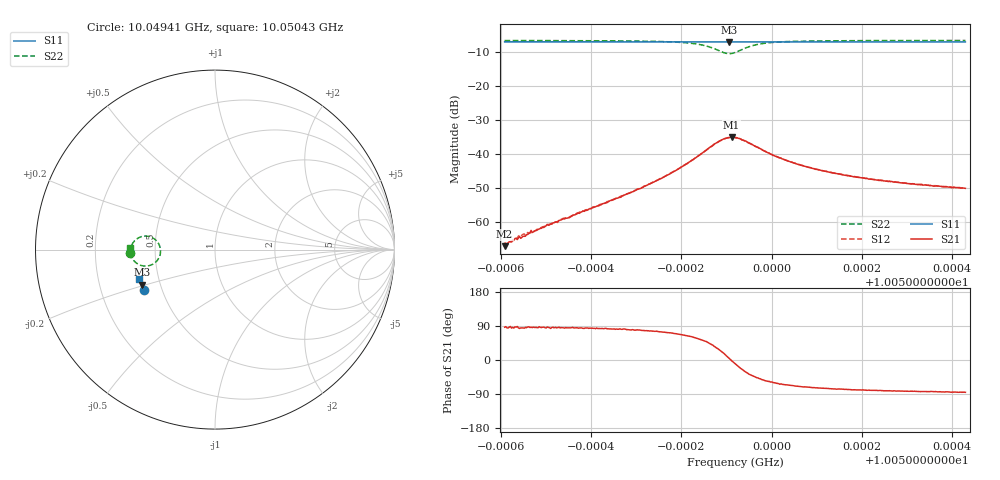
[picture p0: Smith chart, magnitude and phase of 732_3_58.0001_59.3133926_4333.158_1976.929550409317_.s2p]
#  HZ  S  RI  R  50.00
! Rohde & Schwarz Vector Network Analyzer
! Rohde-Schwarz,ZNB20-2Port,1311601062101988,3.16
! Created: UTC 3/21/2024, 1:23:08 AM
! freq[Hz]  re:S11  im:S11  re:S21  im:S21  re:S12  im:S12  re:S22  im:S22
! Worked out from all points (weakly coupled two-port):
!   401 points, 10.04941 GHz to 10.05043 GHz, reference 50 ohm
!   highest |S21| = -34.95 dB at 10.04991 GHz (marker M1); lowest = -67.1 dB at 10.04941 GHz (marker M2)
!   lowest |S11| = -6.9 dB at 10.04991 GHz (marker M3), VSWR 2.64, Z = 19.7 - j9.68 ohm
!   |S11| at or under -10 dB: nowhere
!   |S22| runs from -10.4 to -6.5 dB; largest |S21 - S12| = 0.0013
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1.0049407e10  -0.3943 -0.225  2.62e-05 0.000443  1.56e-05 0.000502  -0.4738 -0.0195
1.0049418e10  -0.3945 -0.2245  3.15e-05 0.000515  6.53e-06 0.000505  -0.4737 -0.0184
1.0049435e10  -0.395 -0.2234  1.57e-05 0.000554  2.55e-05 0.000576  -0.4736 -0.0165
1.0049448e10  -0.3957 -0.2226  5.75e-05 0.000617  -2.69e-05 0.000663  -0.4736 -0.0154
1.0049461e10  -0.3961 -0.2218  2.89e-05 0.000679  1.81e-05 0.00069  -0.4735 -0.014
1.0049497e10  -0.397 -0.2197  7.16e-05 0.000859  -6.12e-06 0.000866  -0.4732 -0.0098
1.0049579e10  -0.3995 -0.2148  0.000134 0.00141  4.7e-05 0.00145  -0.4715 0.000693
1.0049663e10  -0.402 -0.2098  0.000312 0.0023  0.00025 0.00236  -0.4681 0.0146
1.004975e10  -0.4045 -0.2044  0.00113 0.00412  0.000915 0.00419  -0.4579 0.0365
1.0049806e10  -0.4058 -0.2008  0.00287 0.00628  0.00252 0.00646  -0.4375 0.0585
1.0049863e10  -0.4067 -0.1971  0.00913 0.00871  0.00857 0.00912  -0.3734 0.0743
1.0049888e10  -0.4068 -0.1957  0.0149 0.00641  0.0144 0.00709  -0.3222 0.0447
1.0049906e10  -0.4067 -0.1952  0.0176 0.00133  0.0174 0.00225  -0.3034 -0.00581
1.0049911e10  -0.4069 -0.195  0.0179 -0.000552  0.0177 0.000733  -0.3045 -0.0223
1.0049919e10  -0.4071 -0.1947  0.0174 -0.00301  0.0175 -0.00184  -0.3118 -0.045
1.0049944e10  -0.4083 -0.1939  0.013 -0.00836  0.0134 -0.00747  -0.3625 -0.0882
1.004998e10  -0.4098 -0.1919  0.00704 -0.00908  0.0077 -0.00864  -0.4195 -0.0855
1.0050031e10  -0.4114 -0.1889  0.0034 -0.00746  0.0039 -0.00728  -0.4523 -0.061
1.005009e10  -0.4132 -0.1851  0.00184 -0.00594  0.00226 -0.00585  -0.4653 -0.0404
1.0050185e10  -0.4156 -0.1793  0.000929 -0.00458  0.00119 -0.00454  -0.4718 -0.0194
1.0050261e10  -0.4176 -0.1745  0.000624 -0.00395  0.000837 -0.00392  -0.4738 -0.00775
1.005043e10  -0.4214 -0.1642  0.000262 -0.00314  0.000476 -0.00316  -0.4749 0.0114
